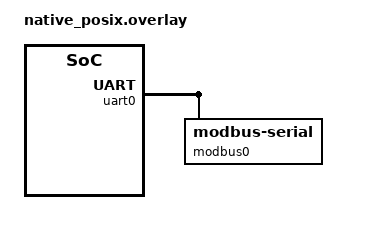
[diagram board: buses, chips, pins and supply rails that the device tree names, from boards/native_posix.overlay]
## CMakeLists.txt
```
# SPDX-License-Identifier: Apache-2.0

cmake_minimum_required(VERSION 3.20.0)
get_filename_component(HVB_FIRMWARE_ROOT ${CMAKE_CURRENT_SOURCE_DIR}/../../.. ABSOLUTE)
set(ZEPHYR_EXTRA_MODULES ${HVB_FIRMWARE_ROOT})
find_package(Zephyr REQUIRED HINTS $ENV{ZEPHYR_BASE})
project(voltage_control_mb_shell)

target_sources(app PRIVATE
	src/main.c
	../vc_controller/src/vc_channel_stub.c
)
target_include_directories(app PRIVATE ${HVB_FIRMWARE_ROOT}/include)
```

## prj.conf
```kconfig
CONFIG_ZTEST=y
CONFIG_SHELL=y
CONFIG_SHELL_BACKEND_DUMMY=y
CONFIG_SERIAL=y
CONFIG_UART_INTERRUPT_DRIVEN=y
CONFIG_MODBUS=y
CONFIG_MODBUS_ROLE_SERVER=y
CONFIG_UI_MODBUS_RTU=y
CONFIG_MODBUS_ADAPTER_SHELL=y
CONFIG_VC_CHANNEL_CONTROLLER=y
CONFIG_VC_RUNTIME=y
CONFIG_VC_RUNTIME_COMMAND_QUEUE_DEPTH=2
CONFIG_VC_RUNTIME_THREAD_STACK_SIZE=2048
CONFIG_VC_RUNTIME_THREAD_PRIORITY=5
CONFIG_VC_RUNTIME_TICK_INTERVAL_MS=1000
CONFIG_SMF=y
CONFIG_SPIN_VALIDATE=n
```

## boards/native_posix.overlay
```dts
#include <dt-bindings/voltage_control/capabilities.h>

/ {
	vc_controller: vc-controller {
		compatible = "jianwei,vc-controller";
		#address-cells = <1>;
		#size-cells = <0>;
		status = "okay";

		vc_ch0: channel@0 {
			compatible = "jianwei,vc-channel-stub";
			reg = <0>;
			label = "CH0";
			capabilities = <(CH_CAP_OUTPUT_ENABLE | CH_CAP_RAW_OUTPUT_DRIVE |
					 CH_CAP_VOLTAGE_MEASUREMENT | CH_CAP_CURRENT_MEASUREMENT)>;
		};

		vc_ch1: channel@1 {
			compatible = "jianwei,vc-channel-stub";
			reg = <1>;
			label = "CH1";
			capabilities = <(CH_CAP_OUTPUT_ENABLE | CH_CAP_RAW_OUTPUT_DRIVE |
					 CH_CAP_VOLTAGE_MEASUREMENT | CH_CAP_CURRENT_MEASUREMENT)>;
		};
	};
};

&uart0 {
	modbus0 {
		compatible = "zephyr,modbus-serial";
		status = "okay";
	};
};
```

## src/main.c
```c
/*
 * Copyright (c) 2026 Jianwei
 * SPDX-License-Identifier: Apache-2.0
 */

#include <errno.h>

#include <zephyr/shell/shell.h>
#include <zephyr/shell/shell_dummy.h>
#include <zephyr/ztest.h>

#include "modbus_adapter/modbus_adapter.h"
#include "reg_store/reg_catalog.h"
#include "reg_store/reg_schema.h"
#include "voltage_control/vc.h"

static struct vc_ctx *ctx;

static void expect_command_result(const char *command, int expected)
{
	const struct shell *shell = shell_backend_dummy_get_ptr();
	int ret = shell_execute_cmd(shell, command);

	zassert_equal(ret, expected, "command '%s' returned %d, expected %d",
		      command, ret, expected);
}

ZTEST(mb_shell, test_mb_status_is_registered)
{
	expect_command_result("mb status", 0);
}

/* mb set slave: out-of-range address must be rejected before adapter init. */
ZTEST(mb_shell, test_mb_set_slave_validates_range)
{
	expect_command_result("mb set slave 0", -EINVAL);
	expect_command_result("mb set slave 248", -EINVAL);
}

ZTEST(mb_shell, test_mb_set_slave_changes_active_config_only)
{
	union reg_value value = {};

	expect_command_result("mb set slave 10", 0);
	zassert_equal(reg_read(REG_MODBUS_ID(
		REG_MODBUS_FIELD_ACTIVE_SLAVE_ADDRESS), &value), REG_OK);
	zassert_equal(value.u16, 10);
	zassert_equal(reg_read(REG_MODBUS_ID(
		REG_MODBUS_FIELD_NEXT_BOOT_SLAVE_ADDRESS), &value), REG_OK);
	zassert_equal(value.u16, 1);
}

/* mb set baud: unknown code must be rejected before adapter init. */
ZTEST(mb_shell, test_mb_set_baud_validates_code)
{
	expect_command_result("mb set baud 5", -EINVAL);
}

/* mb save / mb load return -EIO without adapter init. */
ZTEST(mb_shell, test_mb_save_load_need_init)
{
	expect_command_result("mb save", -EIO);
	expect_command_result("mb load", -EIO);
}

ZTEST(mb_shell, test_mb_factory_is_registered)
{
	expect_command_result("mb factory", 0);
}

static void *mb_shell_setup(void)
{
	ctx = vc_init();
	zassert_not_null(ctx);
	zassert_not_null(vc_mb_adapter_create());
	return NULL;
}

static void mb_shell_teardown(void *fixture)
{
	ARG_UNUSED(fixture);
	vc_destroy(ctx);
}

ZTEST_SUITE(mb_shell, NULL, mb_shell_setup, NULL, NULL, mb_shell_teardown);
```
